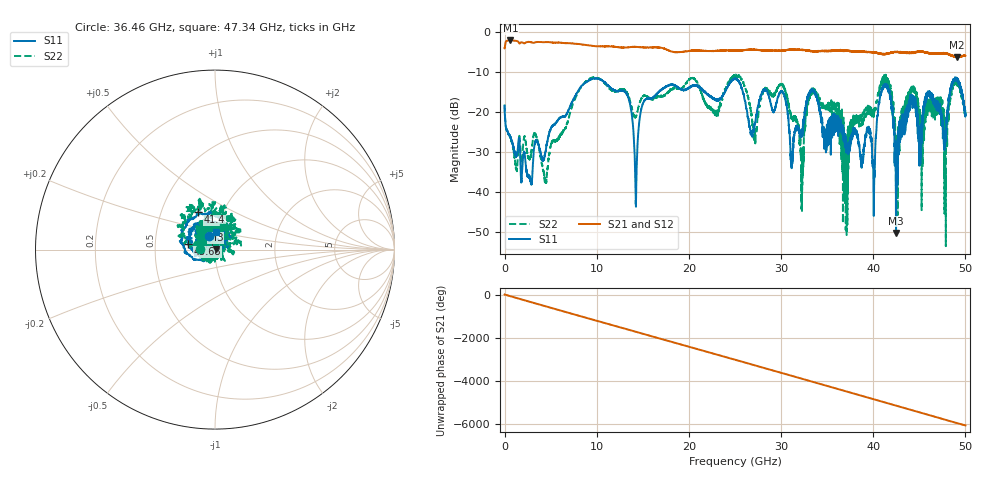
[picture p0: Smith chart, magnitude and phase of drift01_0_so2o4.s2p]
!Created with skrf (http://scikit-rf.org).
# Hz S RI R 50.0
!freq ReS11 ImS11 ReS21 ImS21 ReS12 ImS12 ReS22 ImS22
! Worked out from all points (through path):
!   10001 points, 300 kHz to 50 GHz, reference 50 ohm
!   highest |S21| = -2.00 dB at 625.3 MHz (marker M1); lowest = -6.2 dB at 49.05 GHz (marker M2)
!   group delay of S21, straight-line fit = 336 ps
!   lowest |S11| = -50.1 dB at 42.47 GHz (marker M3), VSWR 1.01, Z = 50.3 + j0.139 ohm
!   |S11| at or under -10 dB: start of sweep to end of sweep
!   |S22| runs from -53.4 to -10.5 dB; largest |S21 - S12| = 0.017
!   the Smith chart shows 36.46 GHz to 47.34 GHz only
!   S11 on the Smith chart (normalised r, x): 36.46 GHz: 0.92, +0.14; 41.4 GHz: 0.77, +0.34; 45.68 GHz: 0.74, +0.05; 47.34 GHz: 0.99, +0.20
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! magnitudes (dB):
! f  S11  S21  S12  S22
! 300 kHz  -18.4  -4.0  -4.0  -18.0
! 625.3 MHz  -26.1  -2.0  -2.0  -26.2
! 4.435 GHz  -29.8  -2.4  -2.4  -36.9
! 8.335 GHz  -13.5  -3.0  -3.0  -13.5
! 13.16 GHz  -15.1  -3.8  -3.8  -14.6
! 14.25 GHz  -41.9  -3.6  -3.6  -21.1
! 16.67 GHz  -14.9  -3.7  -3.7  -15.9
! 25 GHz  -11.6  -4.6  -4.6  -10.9
! 27.14 GHz  -22.9  -4.3  -4.3  -26.0
! 30.18 GHz  -15.0  -4.5  -4.6  -13.3
! 32.23 GHz  -24.3  -4.4  -4.3  -36.1
! 33.34 GHz  -14.3  -4.7  -4.6  -14.6
! 36.46 GHz  -21.8  -4.5  -4.5  -21.3
! 37.07 GHz  -30.1  -4.6  -4.6  -35.2
! 40.06 GHz  -45.9  -5.0  -5.0  -21.1
! 41.4 GHz  -12.9  -5.4  -5.3  -11.6
! 41.67 GHz  -14.5  -5.1  -5.2  -12.7
! 42.47 GHz  -50.1  -4.9  -4.8  -33.1
! 45.68 GHz  -16.2  -4.9  -5.0  -20.5
! 47.34 GHz  -20.0  -5.3  -5.2  -17.4
! 49.05 GHz  -11.8  -6.2  -6.1  -12.3
! 50 GHz  -20.3  -5.8  -5.8  -19.9
